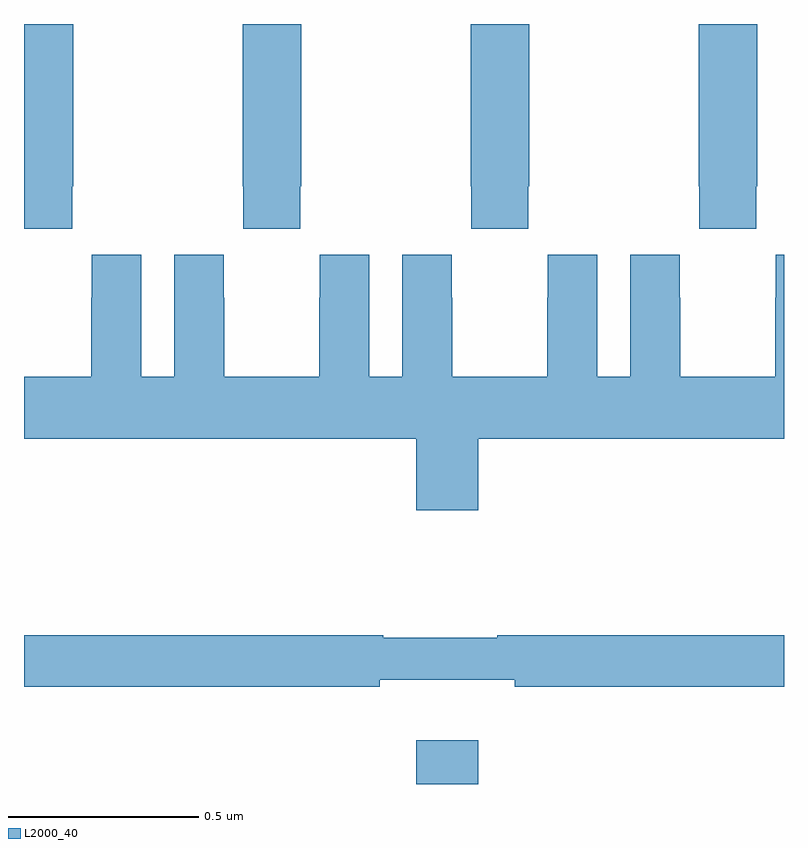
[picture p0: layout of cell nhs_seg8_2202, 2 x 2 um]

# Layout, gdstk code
import gdstk
lib = gdstk.Library(unit=1e-6, precision=1e-09)
def R(c, l, rs):  # rectangles x0, y0, x1, y1
    for r in rs: c.add(gdstk.rectangle(r[:2], r[2:], *l))
def P(c, l, *ps):  # polygons
    for p in ps: c.add(gdstk.Polygon(p, *l))
L2000_40 = (2000, 40)

nhs_seg8_2202 = lib.new_cell('nhs_seg8_2202')
R(nhs_seg8_2202, L2000_40, [(141.032,1140.9,141.196,1141.015)])
P(nhs_seg8_2202, L2000_40, [(140.127,1142.473),(140.13,1142.473),(140.13,1142.9),(140,1142.9),(140,1142.361),(140.127,1142.361)],
  [(140.727,1142.473),(140.73,1142.473),(140.73,1142.9),(140.575,1142.9),(140.575,1142.473),(140.577,1142.473),(140.577,1142.361),(140.727,1142.361)],
  [(141.327,1142.473),(141.33,1142.473),(141.33,1142.9),(141.175,1142.9),(141.175,1142.473),(141.177,1142.473),(141.177,1142.361),(141.327,1142.361)],
  [(141.927,1142.473),(141.93,1142.473),(141.93,1142.9),(141.775,1142.9),(141.775,1142.473),(141.777,1142.473),(141.777,1142.361),(141.927,1142.361)],
  [(141.196,1141.808),(142,1141.808),(142,1142.293),(141.978,1142.293),(141.978,1142.18),(141.977,1142.18),(141.977,1141.972),(141.727,1141.972),(141.727,1142.18),(141.726,1142.18),(141.726,1142.293),(141.596,1142.293),(141.596,1141.972),(141.508,1141.972),(141.508,1142.293),(141.378,1142.293),(141.378,1142.18),(141.377,1142.18),(141.377,1141.972),(141.127,1141.972),(141.127,1142.18),(141.126,1142.18),(141.126,1142.293),(140.996,1142.293),(140.996,1141.972),(140.908,1141.972),(140.908,1142.293),(140.778,1142.293),(140.778,1142.18),(140.777,1142.18),(140.777,1141.972),(140.527,1141.972),(140.527,1142.18),(140.526,1142.18),(140.526,1142.293),(140.396,1142.293),(140.396,1141.972),(140.308,1141.972),(140.308,1142.293),(140.178,1142.293),(140.178,1142.18),(140.177,1142.18),(140.177,1141.972),(140,1141.972),(140,1141.808),(141.032,1141.808),(141.032,1141.62),(141.196,1141.62)],
  [(140.936,1141.175),(141.292,1141.175),(141.292,1141.156),(142,1141.156),(142,1141.292),(141.245,1141.292),(141.245,1141.285),(140.945,1141.285),(140.945,1141.292),(140,1141.292),(140,1141.156),(140.936,1141.156)])

lib.write_gds('nhs_seg8_2202.gds')
